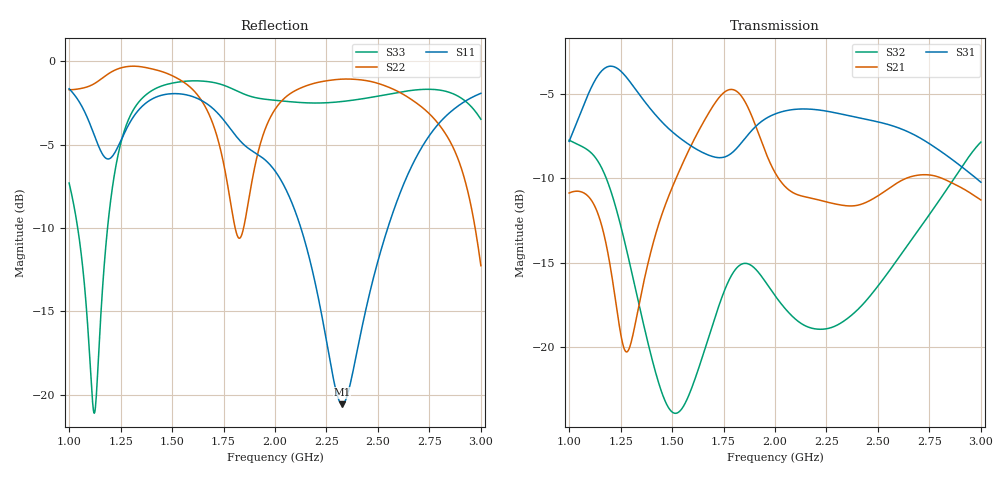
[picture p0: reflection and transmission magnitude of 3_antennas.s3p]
! Touchstone file generated by Optenni Lab on 2018-12-21T15:23:42
# Hz S DB R 50
! freq Sij(magDB angle)
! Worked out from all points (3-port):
!   1001 points, 1 GHz to 3 GHz, reference 50 ohm
!   strongest paths, dB at 1 GHz, 1.5 GHz, 2 GHz, 2.5 GHz, 3 GHz:
!     S31: -7.8, -7.2, -6.2, -6.7, -10.2
!     S21: -10.9, -10.6, -9.7, -11.0, -11.3
!     S32: -7.7, -23.8, -16.9, -16.4, -7.9
!   lowest |S11| = -20.6 dB at 2.326 GHz (marker M1), VSWR 1.21, Z = 41.5 + j0.943 ohm
!   |S11| at or under -10 dB: 2.126 GHz to 2.548 GHz (422.1 MHz wide, 18.1 % of centre)
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1e9  -1.65 -37.7  -10.89 46.2  -7.82 19.5
     -10.87 46.4  -1.70 6.8  -7.75 -143.7
     -7.82 19.5  -7.75 -143.8  -7.30 -65.3
1.122e9  -4.43 -41.5  -11.56 19.7  -4.29 -10.1
         -11.59 19.8  -1.34 3.6  -8.71 174.9
         -4.29 -10.1  -8.69 175.0  -21.13 -169.6
1.268e9  -4.32 -15.3  -20.06 27.3  -3.88 -58.2
         -20.09 27.7  -0.34 -7.2  -13.67 112.0
         -3.88 -58.2  -13.66 112.1  -4.18 61.4
1.492e9  -1.95 -29.7  -10.79 64.3  -7.16 -94.5
         -10.80 64.2  -0.81 -31.2  -23.75 11.2
         -7.16 -94.5  -23.72 11.0  -1.33 22.2
1.676e9  -2.61 -47.2  -6.18 40.0  -8.62 -107.4
         -6.18 40.0  -3.09 -67.6  -19.48 -86.2
         -8.62 -107.4  -19.47 -86.2  -1.22 8.3
1.824e9  -4.68 -58.4  -4.96 2.4  -8.09 -111.0
         -4.96 2.4  -10.61 178.2  -15.19 -162.9
         -8.09 -111.0  -15.18 -162.8  -1.83 1.2
2e9  -6.58 -72.7  -9.66 -20.3  -6.20 -133.0
     -9.66 -20.3  -2.89 49.3  -16.94 107.4
     -6.20 -133.0  -16.93 107.4  -2.34 0.1
2.326e9  -20.58 173.1  -11.60 -15.0  -6.21 -179.4
         -11.59 -15.0  -1.07 5.6  -18.52 0.2
         -6.21 -179.4  -18.51 0.3  -2.41 -0.3
2.762e9  -4.25 65.0  -9.83 -33.7  -8.05 124.9
         -9.82 -33.7  -3.30 -25.9  -11.93 -87.2
         -8.05 124.9  -11.93 -87.1  -1.68 -9.5
3e9  -1.92 41.6  -11.27 -55.8  -10.23 100.8
     -11.28 -55.8  -12.27 -28.2  -7.87 -145.6
     -10.23 100.8  -7.86 -145.6  -3.48 -22.3
